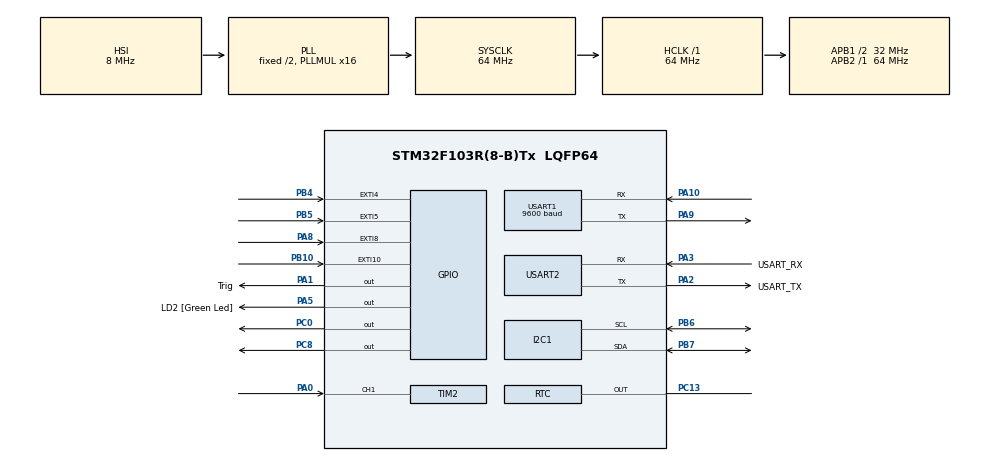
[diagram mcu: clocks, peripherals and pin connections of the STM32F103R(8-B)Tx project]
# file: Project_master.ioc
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Dma.Request0=USART1_RX
Dma.USART1_RX.0.Direction=DMA_PERIPH_TO_MEMORY
Dma.USART1_RX.0.Instance=DMA1_Channel5
Dma.USART1_RX.0.MemDataAlignment=DMA_MDATAALIGN_WORD
Dma.USART1_RX.0.MemInc=DMA_MINC_ENABLE
Dma.USART1_RX.0.Mode=DMA_CIRCULAR
Dma.USART1_RX.0.PeriphDataAlignment=DMA_PDATAALIGN_WORD
Dma.USART1_RX.0.PeriphInc=DMA_PINC_DISABLE
Dma.USART1_RX.0.Priority=DMA_PRIORITY_LOW
Mcu.Family=STM32F1
Mcu.Name=STM32F103R(8-B)Tx
Mcu.Package=LQFP64
NVIC.DMA1_Channel5_IRQn=true\:0\:0\:false\:false\:true\:false\:true\:true
NVIC.EXTI15_10_IRQn=true\:0\:0\:false\:false\:true\:true\:true\:true
NVIC.EXTI4_IRQn=true\:0\:0\:false\:false\:true\:true\:true\:true
NVIC.EXTI9_5_IRQn=true\:0\:0\:false\:false\:true\:true\:true\:true
NVIC.PriorityGroup=NVIC_PRIORITYGROUP_4
NVIC.RTC_Alarm_IRQn=true\:0\:0\:false\:false\:true\:true\:true\:true
NVIC.TIM2_IRQn=true\:0\:0\:false\:false\:true\:true\:true\:true
PA0-WKUP.Signal=S_TIM2_CH1_ETR
PA1.GPIO_Label=Trig
PA1.Signal=GPIO_Output
PA10.Mode=Asynchronous
PA10.Signal=USART1_RX
PA13.GPIO_Label=TMS
PA13.Mode=Serial_Wire
PA13.Signal=SYS_JTMS-SWDIO
PA14.GPIO_Label=TCK
PA14.Mode=Serial_Wire
PA14.Signal=SYS_JTCK-SWCLK
PA2.GPIO_Label=USART_TX
PA2.GPIO_Mode=GPIO_MODE_AF_PP
PA2.GPIO_PuPd=GPIO_NOPULL
PA2.GPIO_Speed=GPIO_SPEED_FREQ_LOW
PA2.Mode=Asynchronous
PA2.Signal=USART2_TX
PA3.GPIO_Label=USART_RX
PA3.GPIO_Mode=GPIO_MODE_AF_PP
PA3.GPIO_PuPd=GPIO_NOPULL
PA3.GPIO_Speed=GPIO_SPEED_FREQ_LOW
PA3.Mode=Asynchronous
PA3.Signal=USART2_RX
PA5.GPIO_Label=LD2 [Green Led]
PA5.GPIO_ModeDefaultOutputPP=GPIO_MODE_OUTPUT_PP
PA5.GPIO_PuPd=GPIO_NOPULL
PA5.GPIO_Speed=GPIO_SPEED_FREQ_LOW
PA5.Signal=GPIO_Output
PA8.GPIO_ModeDefaultEXTI=GPIO_MODE_IT_RISING
PA8.Signal=GPXTI8
PA9.Mode=Asynchronous
PA9.Signal=USART1_TX
PB10.Signal=GPXTI10
PB3.GPIO_Label=SWO
PB3.Signal=SYS_JTDO-TRACESWO
PB4.GPIO_PuPd=GPIO_NOPULL
PB4.Signal=GPXTI4
PB5.Signal=GPXTI5
PB6.Mode=I2C
PB6.Signal=I2C1_SCL
PB7.Mode=I2C
PB7.Signal=I2C1_SDA
PC0.Signal=GPIO_Output
PC13-TAMPER-RTC.Mode=RTC OUT
PC13-TAMPER-RTC.Signal=RTC_OUT
PC14-OSC32_IN.Mode=LSE-External-Oscillator
PC14-OSC32_IN.Signal=RCC_OSC32_IN
PC15-OSC32_OUT.Mode=LSE-External-Oscillator
PC15-OSC32_OUT.Signal=RCC_OSC32_OUT
PC8.Signal=GPIO_Output
PD0-OSC_IN.Mode=HSE-External-Oscillator
PD0-OSC_IN.Signal=RCC_OSC_IN
PD1-OSC_OUT.Mode=HSE-External-Oscillator
PD1-OSC_OUT.Signal=RCC_OSC_OUT
ProjectManager.HeapSize=0x200
ProjectManager.StackSize=0x400
ProjectManager.TargetToolchain=STM32CubeIDE
RCC.AHBFreq_Value=64000000
RCC.APB1CLKDivider=RCC_HCLK_DIV2
RCC.APB1Freq_Value=32000000
RCC.APB1TimFreq_Value=64000000
RCC.APB2Freq_Value=64000000
RCC.APB2TimFreq_Value=64000000
RCC.HCLKFreq_Value=64000000
RCC.PLLMUL=RCC_PLL_MUL16
RCC.RTCClockSelection=RCC_RTCCLKSOURCE_LSE
RCC.SYSCLKFreq_VALUE=64000000
RCC.SYSCLKSource=RCC_SYSCLKSOURCE_PLLCLK
RCC.USBFreq_Value=64000000
RTC.Hours_A-RTC\ OUT=1
RTC.Minutes_A-RTC\ OUT=1
RTC.Seconds_A-RTC\ OUT=30
SH.S_TIM2_CH1_ETR.0=TIM2_CH1,Input_Capture1_from_TI1
TIM1.Prescaler=64000-1
TIM2.Channel-Input_Capture1_from_TI1=TIM_CHANNEL_1
TIM2.Prescaler=64-1
TIM3.Prescaler=64-1
USART1.BaudRate=9600
USART1.VirtualMode=VM_ASYNC
USART2.VirtualMode=VM_ASYNC
VP_RTC_VS_RTC_Activate.Mode=RTC_Enabled
VP_RTC_VS_RTC_Calendar.Mode=RTC_Calendar
VP_TIM1_VS_ClockSourceINT.Mode=Internal
VP_TIM2_VS_ClockSourceINT.Mode=Internal
VP_TIM3_VS_ClockSourceINT.Mode=Internal
board=NUCLEO-F103RB

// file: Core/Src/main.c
/* USER CODE BEGIN Header */
/**
  ******************************************************************************
  * @file           : main.c
  * @brief          : Main program body
  ******************************************************************************
  * @attention
  *
  * Copyright (c) 2022 STMicroelectronics.
  * All rights reserved.
  *
  * This software is licensed under terms that can be found in the LICENSE file
  * in the root directory of this software component.
  * If no LICENSE file comes with this software, it is provided AS-IS.
  *
  ******************************************************************************
  */
/* USER CODE END Header */
#include "main.h"

/* USER CODE BEGIN Includes */
#include "i2c-lcd.h"
#include <time.h>
#include <stdio.h>
#include <string.h>
#include <stdlib.h>
/* USER CODE END Includes */

 I2C_HandleTypeDef hi2c1;

RTC_HandleTypeDef hrtc;

TIM_HandleTypeDef htim1;
TIM_HandleTypeDef htim2;
TIM_HandleTypeDef htim3;

UART_HandleTypeDef huart1;
UART_HandleTypeDef huart2;
DMA_HandleTypeDef hdma_usart1_rx;

/* USER CODE BEGIN PV */
char timer[30];     //lcd 현제시간표현
char set_time[30];	//lcd 설정시간표현
char set_alarm[30]; //lcd 알람시간표현

uint32_t pre_time = 0; //Chattering
uint32_t cur_time = 0; //Chattering

uint8_t set_mode;  //설정모드 변경
uint8_t set_hour;  //시간단위 설정
uint8_t set_minut; //분단위 설정
uint8_t set_alarm_hour;  //알람 시간단위 설정
uint8_t set_alarm_minut; //알람 분단위 설정

RTC_TimeTypeDef sTime;   //시간변수
RTC_DateTypeDef sDate;   //날짜변수 사용x Error방지
RTC_AlarmTypeDef sAlarm; //알람시간변수

uint32_t IC1, IC2; //초음파 Input캡쳐
int CaptureFlag;   //Input캡쳐 보조
float distance;	   //초음파센서값

int dis_flag[2];   //보내는정보

int num1;     //Random변수
int game[5];  //Random변수 넣는 배열
char way[5];  //Random변수 마다 해당방향 저장
int Joystick = 4; //전송받는 Joystick 값
/* USER CODE END PV */

void SystemClock_Config(void);
static void MX_GPIO_Init(void);
static void MX_USART2_UART_Init(void);
static void MX_RTC_Init(void);
static void MX_I2C1_Init(void);
static void MX_TIM3_Init(void);
static void MX_TIM2_Init(void);
static void MX_DMA_Init(void);
static void MX_USART1_UART_Init(void);
static void MX_TIM1_Init(void);

/* USER CODE BEGIN 0 */
#ifdef __GNUC__
/* With GCC, small printf (option LD Linker->Libraries->Small printf
   set to 'Yes') calls __io_putchar() */
#define PUTCHAR_PROTOTYPE int __io_putchar(int ch)
#else
#define PUTCHAR_PROTOTYPE int fputc(int ch, FILE *f)
#endif /* __GNUC__ */

PUTCHAR_PROTOTYPE
{
  /* Place your implementation of fputc here */
  /* e.g. write a character to the USART1 and Loop until the end of transmission */
  HAL_UART_Transmit(&huart2, (uint8_t *)&ch, 1, 0xFFFF);

  return ch;
}//printf를 쓰기위한 함수

void TIME_LCD()
{

	sprintf(timer,"Time: %02d : %02d",sTime.Hours,sTime.Minutes);
	lcd_put_cur(0, 0);
	lcd_send_string(timer);

	printf("%d, %d\n", sTime.Hours, sTime.Minutes);
	printf(timer);

	if(set_mode == 0){
		lcd_put_cur(1, 0);
		sprintf(set_time,"Set Time: %02d:%02d ",set_hour,set_minut);
		lcd_send_string(set_time);
	}
	else if(set_mode == 1){
		lcd_put_cur(1, 0);
		sprintf(set_alarm,"Alarm: %02d:%02d    ",set_alarm_hour,set_alarm_minut);
		lcd_send_string(set_alarm);
	}
}//시간과 알람표현 함수_lcd

void delay_us(uint16_t delay)
{
	__HAL_TIM_SET_COUNTER(&htim3, 0); //TIM3->CNT = 0;
	while(__HAL_TIM_GET_COUNTER(&htim3) < delay); //while(TIM3->CNT < delay);
}//us단위 delay함수
void delay_ms(uint16_t delay)
{
	__HAL_TIM_SET_COUNTER(&htim1, 0); //TIM1->CNT = 0;
	while(__HAL_TIM_GET_COUNTER(&htim1) < delay); //while(TIM1->CNT < delay);
}//ms단위 delay함수

void Trig()
{
	HAL_GPIO_WritePin(GPIOA, Trig_Pin, GPIO_PIN_SET);
	delay_us(10);
	HAL_GPIO_WritePin(GPIOA, Trig_Pin, GPIO_PIN_RESET);
}//초음파 Trigger함수

void WayGame()
{
  for(int i = 0; i < 5; i++){
  	num1 = rand() % 4;
  	game[i] = num1;

  	switch(game[i]){
  	case 0:
  		way[i] = 'U';
  		break;
  	case 1:
  	    way[i] = 'D';
  	  	break;
  	case 2:
  	    way[i] = 'L';
  	  	break;
  	default:
  	    way[i] = 'R';
  	}
  }

  lcd_put_cur(0, 0);
  lcd_send_string("GAME START!!    ");

  lcd_put_cur(1, 0);
  for(int i=0; i<5; i++){
	  lcd_send_data(way[i]);
	  lcd_send_string(" ");
	  if(i==4){
		  lcd_send_string("       ");
	  }
  }
}//Random Game Start
void Cleargame()
{
	int true_num = 0;
	int i = 0;

	lcd_put_cur(1, 0);
	while(true_num != 5){
		HAL_GPIO_TogglePin(GPIOC, GPIO_PIN_8);
		delay_ms(500);

		Trig();
		HAL_UART_Transmit(&huart1, &dis_flag[0], 1, 0xFFFF);
		HAL_UART_Transmit(&huart1, &dis_flag[1], 1, 0xFFFF);
		HAL_UART_Receive_DMA(&huart1, &Joystick, 1);

		HAL_RTC_GetTime(&hrtc, &sTime, RTC_FORMAT_BIN); //RTC 시간받기
		HAL_RTC_GetDate(&hrtc, &sDate, RTC_FORMAT_BIN); //RTC 날짜받기 사용x_Error 방지

		if(game[i] == Joystick){
			lcd_send_string ("  ");
			true_num++;
			i++;
		}
	}
	dis_flag[0] = 0;
	HAL_UART_Transmit(&huart1, &dis_flag[0], 1, 0xFFFF);
	HAL_GPIO_WritePin(GPIOC, GPIO_PIN_8, RESET);
	TIME_LCD();
}//JoyStick값과 비교하여 Game진행 함수
/* USER CODE END 0 */

int main(void)
{

  /* MCU Configuration--------------------------------------------------------*/

  /* Reset of all peripherals, Initializes the Flash interface and the Systick. */
  HAL_Init();

  /* Configure the system clock */
  SystemClock_Config();

  /* Initialize all configured peripherals */
  MX_GPIO_Init();
  MX_USART2_UART_Init();
  MX_RTC_Init();
  MX_I2C1_Init();
  MX_TIM3_Init();
  MX_TIM2_Init();
  MX_DMA_Init();
  MX_USART1_UART_Init();
  MX_TIM1_Init();
  /* USER CODE BEGIN 2 */
  lcd_init ();
  TIME_LCD(); //초기화면
  HAL_TIM_Base_Start(&htim1); //ms_delay
  HAL_TIM_Base_Start(&htim3); //us_delay
  HAL_TIM_IC_Start_IT(&htim2, TIM_CHANNEL_1);//Input 캡쳐
  /* USER CODE END 2 */

  /* Infinite loop */
  /* USER CODE BEGIN WHILE */
  while (1)
  {

	  HAL_RTC_GetTime(&hrtc, &sTime, RTC_FORMAT_BIN); //RTC 시간받기
	  HAL_RTC_GetDate(&hrtc, &sDate, RTC_FORMAT_BIN); //RTC 날짜받기 사용x_Error 방지

	  if(dis_flag[0] == 1){
		  WayGame();
		  Cleargame();
	  }
	  else if(dis_flag[0] == 0){
		  TIME_LCD();
	  }
    /* USER CODE END WHILE */

  }
}

void SystemClock_Config(void)
{
  RCC_OscInitTypeDef RCC_OscInitStruct = {0};
  RCC_ClkInitTypeDef RCC_ClkInitStruct = {0};
  RCC_PeriphCLKInitTypeDef PeriphClkInit = {0};

  /** Initializes the RCC Oscillators according to the specified parameters
  * in the RCC_OscInitTypeDef structure.
  */
  RCC_OscInitStruct.OscillatorType = RCC_OSCILLATORTYPE_HSI|RCC_OSCILLATORTYPE_LSE;
  RCC_OscInitStruct.LSEState = RCC_LSE_ON;
  RCC_OscInitStruct.HSIState = RCC_HSI_ON;
  RCC_OscInitStruct.HSICalibrationValue = RCC_HSICALIBRATION_DEFAULT;
  RCC_OscInitStruct.PLL.PLLState = RCC_PLL_ON;
  RCC_OscInitStruct.PLL.PLLSource = RCC_PLLSOURCE_HSI_DIV2;
  RCC_OscInitStruct.PLL.PLLMUL = RCC_PLL_MUL16;
  if (HAL_RCC_OscConfig(&RCC_OscInitStruct) != HAL_OK)
  {
    Error_Handler();
  }

  /** Initializes the CPU, AHB and APB buses clocks
  */
  RCC_ClkInitStruct.ClockType = RCC_CLOCKTYPE_HCLK|RCC_CLOCKTYPE_SYSCLK
                              |RCC_CLOCKTYPE_PCLK1|RCC_CLOCKTYPE_PCLK2;
  RCC_ClkInitStruct.SYSCLKSource = RCC_SYSCLKSOURCE_PLLCLK;
  RCC_ClkInitStruct.AHBCLKDivider = RCC_SYSCLK_DIV1;
  RCC_ClkInitStruct.APB1CLKDivider = RCC_HCLK_DIV2;
  RCC_ClkInitStruct.APB2CLKDivider = RCC_HCLK_DIV1;

  if (HAL_RCC_ClockConfig(&RCC_ClkInitStruct, FLASH_LATENCY_2) != HAL_OK)
  {
    Error_Handler();
  }
  PeriphClkInit.PeriphClockSelection = RCC_PERIPHCLK_RTC;
  PeriphClkInit.RTCClockSelection = RCC_RTCCLKSOURCE_LSE;
  if (HAL_RCCEx_PeriphCLKConfig(&PeriphClkInit) != HAL_OK)
  {
    Error_Handler();
  }
}

static void MX_I2C1_Init(void)
{

  hi2c1.Instance = I2C1;
  hi2c1.Init.ClockSpeed = 100000;
  hi2c1.Init.DutyCycle = I2C_DUTYCYCLE_2;
  hi2c1.Init.OwnAddress1 = 0;
  hi2c1.Init.AddressingMode = I2C_ADDRESSINGMODE_7BIT;
  hi2c1.Init.DualAddressMode = I2C_DUALADDRESS_DISABLE;
  hi2c1.Init.OwnAddress2 = 0;
  hi2c1.Init.GeneralCallMode = I2C_GENERALCALL_DISABLE;
  hi2c1.Init.NoStretchMode = I2C_NOSTRETCH_DISABLE;
  if (HAL_I2C_Init(&hi2c1) != HAL_OK)
  {
    Error_Handler();
  }

}

static void MX_RTC_Init(void)
{

  RTC_TimeTypeDef sTime = {0};
  RTC_DateTypeDef DateToUpdate = {0};
  RTC_AlarmTypeDef sAlarm = {0};

  /** Initialize RTC Only
  */
  hrtc.Instance = RTC;
  hrtc.Init.AsynchPrediv = RTC_AUTO_1_SECOND;
  hrtc.Init.OutPut = RTC_OUTPUTSOURCE_ALARM;
  if (HAL_RTC_Init(&hrtc) != HAL_OK)
  {
    Error_Handler();
  }

  /** Initialize RTC and set the Time and Date
  */
  sTime.Hours = 0x0;
  sTime.Minutes = 0x0;
  sTime.Seconds = 0x0;

  if (HAL_RTC_SetTime(&hrtc, &sTime, RTC_FORMAT_BCD) != HAL_OK)
  {
    Error_Handler();
  }
  DateToUpdate.WeekDay = RTC_WEEKDAY_MONDAY;
  DateToUpdate.Month = RTC_MONTH_JANUARY;
  DateToUpdate.Date = 0x1;
  DateToUpdate.Year = 0x0;

  if (HAL_RTC_SetDate(&hrtc, &DateToUpdate, RTC_FORMAT_BCD) != HAL_OK)
  {
    Error_Handler();
  }

  /** Enable the Alarm A
  */
  sAlarm.AlarmTime.Hours = 0x1;
  sAlarm.AlarmTime.Minutes = 0x1;
  sAlarm.AlarmTime.Seconds = 0x30;
  sAlarm.Alarm = RTC_ALARM_A;
  if (HAL_RTC_SetAlarm_IT(&hrtc, &sAlarm, RTC_FORMAT_BCD) != HAL_OK)
  {
    Error_Handler();
  }

}

static void MX_TIM1_Init(void)
{

  TIM_ClockConfigTypeDef sClockSourceConfig = {0};
  TIM_MasterConfigTypeDef sMasterConfig = {0};

  htim1.Instance = TIM1;
  htim1.Init.Prescaler = 64000-1;
  htim1.Init.CounterMode = TIM_COUNTERMODE_UP;
  htim1.Init.Period = 65535;
  htim1.Init.ClockDivision = TIM_CLOCKDIVISION_DIV1;
  htim1.Init.RepetitionCounter = 0;
  htim1.Init.AutoReloadPreload = TIM_AUTORELOAD_PRELOAD_DISABLE;
  if (HAL_TIM_Base_Init(&htim1) != HAL_OK)
  {
    Error_Handler();
  }
  sClockSourceConfig.ClockSource = TIM_CLOCKSOURCE_INTERNAL;
  if (HAL_TIM_ConfigClockSource(&htim1, &sClockSourceConfig) != HAL_OK)
  {
    Error_Handler();
  }
  sMasterConfig.MasterOutputTrigger = TIM_TRGO_RESET;
  sMasterConfig.MasterSlaveMode = TIM_MASTERSLAVEMODE_DISABLE;
  if (HAL_TIMEx_MasterConfigSynchronization(&htim1, &sMasterConfig) != HAL_OK)
  {
    Error_Handler();
  }

}

static void MX_TIM2_Init(void)
{

  TIM_ClockConfigTypeDef sClockSourceConfig = {0};
  TIM_MasterConfigTypeDef sMasterConfig = {0};
  TIM_IC_InitTypeDef sConfigIC = {0};

  htim2.Instance = TIM2;
  htim2.Init.Prescaler = 64-1;
  htim2.Init.CounterMode = TIM_COUNTERMODE_UP;
  htim2.Init.Period = 65535;
  htim2.Init.ClockDivision = TIM_CLOCKDIVISION_DIV1;
  htim2.Init.AutoReloadPreload = TIM_AUTORELOAD_PRELOAD_DISABLE;
  if (HAL_TIM_Base_Init(&htim2) != HAL_OK)
  {
    Error_Handler();
  }
  sClockSourceConfig.ClockSource = TIM_CLOCKSOURCE_INTERNAL;
  if (HAL_TIM_ConfigClockSource(&htim2, &sClockSourceConfig) != HAL_OK)
  {
    Error_Handler();
  }
  if (HAL_TIM_IC_Init(&htim2) != HAL_OK)
  {
    Error_Handler();
  }
  sMasterConfig.MasterOutputTrigger = TIM_TRGO_RESET;
  sMasterConfig.MasterSlaveMode = TIM_MASTERSLAVEMODE_DISABLE;
  if (HAL_TIMEx_MasterConfigSynchronization(&htim2, &sMasterConfig) != HAL_OK)
  {
    Error_Handler();
  }
  sConfigIC.ICPolarity = TIM_INPUTCHANNELPOLARITY_RISING;
  sConfigIC.ICSelection = TIM_ICSELECTION_DIRECTTI;
  sConfigIC.ICPrescaler = TIM_ICPSC_DIV1;
  sConfigIC.ICFilter = 0;
  if (HAL_TIM_IC_ConfigChannel(&htim2, &sConfigIC, TIM_CHANNEL_1) != HAL_OK)
  {
    Error_Handler();
  }

}

static void MX_TIM3_Init(void)
{

  TIM_ClockConfigTypeDef sClockSourceConfig = {0};
  TIM_MasterConfigTypeDef sMasterConfig = {0};

  htim3.Instance = TIM3;
  htim3.Init.Prescaler = 64-1;
  htim3.Init.CounterMode = TIM_COUNTERMODE_UP;
  htim3.Init.Period = 65535;
  htim3.Init.ClockDivision = TIM_CLOCKDIVISION_DIV1;
  htim3.Init.AutoReloadPreload = TIM_AUTORELOAD_PRELOAD_DISABLE;
  if (HAL_TIM_Base_Init(&htim3) != HAL_OK)
  {
    Error_Handler();
  }
  sClockSourceConfig.ClockSource = TIM_CLOCKSOURCE_INTERNAL;
  if (HAL_TIM_ConfigClockSource(&htim3, &sClockSourceConfig) != HAL_OK)
  {
    Error_Handler();
  }
  sMasterConfig.MasterOutputTrigger = TIM_TRGO_RESET;
  sMasterConfig.MasterSlaveMode = TIM_MASTERSLAVEMODE_DISABLE;
  if (HAL_TIMEx_MasterConfigSynchronization(&htim3, &sMasterConfig) != HAL_OK)
  {
    Error_Handler();
  }

}

static void MX_USART1_UART_Init(void)
{

  huart1.Instance = USART1;
  huart1.Init.BaudRate = 9600;
  huart1.Init.WordLength = UART_WORDLENGTH_8B;
  huart1.Init.StopBits = UART_STOPBITS_1;
  huart1.Init.Parity = UART_PARITY_NONE;
  huart1.Init.Mode = UART_MODE_TX_RX;
  huart1.Init.HwFlowCtl = UART_HWCONTROL_NONE;
  huart1.Init.OverSampling = UART_OVERSAMPLING_16;
  if (HAL_UART_Init(&huart1) != HAL_OK)
  {
    Error_Handler();
  }

}

static void MX_USART2_UART_Init(void)
{

  huart2.Instance = USART2;
  huart2.Init.BaudRate = 115200;
  huart2.Init.WordLength = UART_WORDLENGTH_8B;
  huart2.Init.StopBits = UART_STOPBITS_1;
  huart2.Init.Parity = UART_PARITY_NONE;
  huart2.Init.Mode = UART_MODE_TX_RX;
  huart2.Init.HwFlowCtl = UART_HWCONTROL_NONE;
  huart2.Init.OverSampling = UART_OVERSAMPLING_16;
  if (HAL_UART_Init(&huart2) != HAL_OK)
  {
    Error_Handler();
  }

}

static void MX_DMA_Init(void)
{

  /* DMA controller clock enable */
  __HAL_RCC_DMA1_CLK_ENABLE();

  /* DMA interrupt init */
  /* DMA1_Channel5_IRQn interrupt configuration */
  HAL_NVIC_SetPriority(DMA1_Channel5_IRQn, 0, 0);
  HAL_NVIC_EnableIRQ(DMA1_Channel5_IRQn);

}

static void MX_GPIO_Init(void)
{
  GPIO_InitTypeDef GPIO_InitStruct = {0};

  /* GPIO Ports Clock Enable */
  __HAL_RCC_GPIOC_CLK_ENABLE();
  __HAL_RCC_GPIOD_CLK_ENABLE();
  __HAL_RCC_GPIOA_CLK_ENABLE();
  __HAL_RCC_GPIOB_CLK_ENABLE();

  /*Configure GPIO pin Output Level */
  HAL_GPIO_WritePin(GPIOC, GPIO_PIN_0|GPIO_PIN_8, GPIO_PIN_RESET);

  /*Configure GPIO pin Output Level */
  HAL_GPIO_WritePin(GPIOA, Trig_Pin|LD2_Pin, GPIO_PIN_RESET);

  /*Configure GPIO pins : PC0 PC8 */
  GPIO_InitStruct.Pin = GPIO_PIN_0|GPIO_PIN_8;
  GPIO_InitStruct.Mode = GPIO_MODE_OUTPUT_PP;
  GPIO_InitStruct.Pull = GPIO_NOPULL;
  GPIO_InitStruct.Speed = GPIO_SPEED_FREQ_LOW;
  HAL_GPIO_Init(GPIOC, &GPIO_InitStruct);

  /*Configure GPIO pins : Trig_Pin LD2_Pin */
  GPIO_InitStruct.Pin = Trig_Pin|LD2_Pin;
  GPIO_InitStruct.Mode = GPIO_MODE_OUTPUT_PP;
  GPIO_InitStruct.Pull = GPIO_NOPULL;
  GPIO_InitStruct.Speed = GPIO_SPEED_FREQ_LOW;
  HAL_GPIO_Init(GPIOA, &GPIO_InitStruct);

  /*Configure GPIO pins : PB10 PB4 PB5 */
  GPIO_InitStruct.Pin = GPIO_PIN_10|GPIO_PIN_4|GPIO_PIN_5;
  GPIO_InitStruct.Mode = GPIO_MODE_IT_RISING;
  GPIO_InitStruct.Pull = GPIO_NOPULL;
  HAL_GPIO_Init(GPIOB, &GPIO_InitStruct);

  /*Configure GPIO pin : PA8 */
  GPIO_InitStruct.Pin = GPIO_PIN_8;
  GPIO_InitStruct.Mode = GPIO_MODE_IT_RISING;
  GPIO_InitStruct.Pull = GPIO_NOPULL;
  HAL_GPIO_Init(GPIOA, &GPIO_InitStruct);

  /* EXTI interrupt init*/
  HAL_NVIC_SetPriority(EXTI4_IRQn, 0, 0);
  HAL_NVIC_EnableIRQ(EXTI4_IRQn);

  HAL_NVIC_SetPriority(EXTI9_5_IRQn, 0, 0);
  HAL_NVIC_EnableIRQ(EXTI9_5_IRQn);

  HAL_NVIC_SetPriority(EXTI15_10_IRQn, 0, 0);
  HAL_NVIC_EnableIRQ(EXTI15_10_IRQn);

}

/* USER CODE BEGIN 4 */
void HAL_GPIO_EXTI_Callback(uint16_t GPIO_Pin)
{
	if(GPIO_Pin == GPIO_PIN_8){
		cur_time = TIM1->CNT;
		if(cur_time - pre_time >= 500){
			if(set_mode == 0){
				set_hour++;
				if(set_hour == 24){
					set_hour = 0;
				}
			}//
			else if(set_mode == 1){
				set_alarm_hour++;
				if(set_alarm_hour == 24){
					set_alarm_hour = 0;
				}
			}
			pre_time = cur_time;
	    }
	}//1번째 Switch_시간단위조절
	if(GPIO_Pin == GPIO_PIN_4){
		cur_time = TIM1->CNT;
		if(cur_time - pre_time >= 500){
			if(set_mode == 0){
				set_minut++;
				if(set_minut == 60){
					set_minut = 0;
				}
			}
			else if(set_mode == 1){
				set_alarm_minut++;
				if(set_alarm_minut == 60){
					set_alarm_minut = 0;
				}
			}
			pre_time = cur_time;
	    }
	}//2번째 Switch_분단위조절
	if(GPIO_Pin == GPIO_PIN_5){
		cur_time = TIM1->CNT;
		if(cur_time - pre_time >= 500){
			if(set_mode == 0){
				sTime.Minutes = set_minut;
				sTime.Hours = set_hour;
				set_hour = 0;
				set_minut = 0;
				HAL_RTC_SetTime(&hrtc, &sTime, RTC_FORMAT_BIN);
			}
			else if(set_mode == 1){
				sAlarm.AlarmTime.Hours = set_alarm_hour;
				sAlarm.AlarmTime.Minutes = set_alarm_minut;
				HAL_RTC_SetAlarm_IT(&hrtc, &sAlarm, RTC_FORMAT_BIN);
			}
			pre_time = cur_time;
		}
	}//3번째 Switch_시간 및 알람 Setting
	if(GPIO_Pin == GPIO_PIN_10){
		cur_time = TIM1->CNT;
		if(cur_time - pre_time >=500){
			if(set_mode == 0){
				set_mode = 1;
			}
			else if(set_mode ==1){
				set_mode = 0;
			}
			pre_time = cur_time;
		}
	}//4번째 Switch_설정모드변경
}//Switch 외부인터럽트

void HAL_RTC_AlarmAEventCallback(RTC_HandleTypeDef *hrtc)
{
  dis_flag[0] = 1;
}//Alarm 인터럽트 발생시 Game mode 전환

void HAL_TIM_IC_CaptureCallback(TIM_HandleTypeDef *htim)
{
	if (htim->Channel == HAL_TIM_ACTIVE_CHANNEL_1)
	{
		if (CaptureFlag == 0)
		{
			IC1 = TIM2->CCR1;
			CaptureFlag = 1;
			__HAL_TIM_SET_CAPTUREPOLARITY(&htim2, TIM_CHANNEL_1, TIM_INPUTCHANNELPOLARITY_FALLING);
		}
		else if (CaptureFlag == 1)
		{
			IC2 = TIM2->CCR1;
			distance = 340 * (IC2 - IC1) * 0.000001 / 2 * 100;
			dis_flag[1] = distance;
			__HAL_TIM_SET_COUNTER(&htim2, 0);
			CaptureFlag = 0;
			__HAL_TIM_SET_CAPTUREPOLARITY(&htim2, TIM_CHANNEL_1, TIM_INPUTCHANNELPOLARITY_RISING);
		}
	}
}//초음파 거리 측정
/* USER CODE END 4 */

void Error_Handler(void)
{
  __disable_irq();
  while (1)
  {
  }
}
